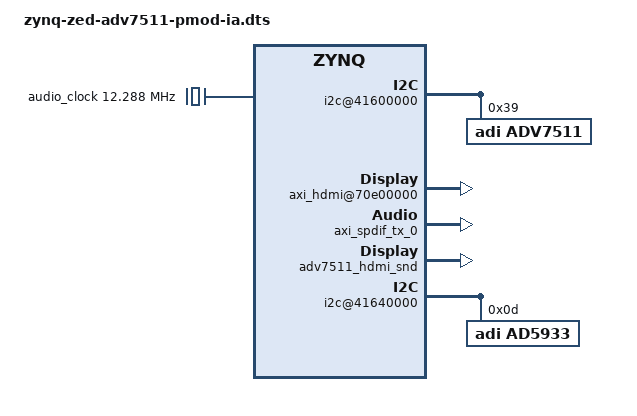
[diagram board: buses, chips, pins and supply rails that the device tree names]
/dts-v1/;

/include/ "zynq-zed.dtsi"

/ {
	fpga_axi: fpga-axi@0 {
		compatible = "simple-bus";
		#address-cells = <0x1>;
		#size-cells = <0x1>;
		ranges;

		i2c@41600000 {
			compatible = "xlnx,axi-iic-1.01.b", "xlnx,xps-iic-2.00.a";
			interrupt-parent = <&gic>;
			interrupts = <0 58 0x4>;
			reg = <0x41600000 0x10000>;

			#size-cells = <0>;
			#address-cells = <1>;

			adv7511: adv7511@39 {
				compatible = "adi,adv7511";
				reg = <0x39>;

				adi,input-style = <0x02>;
				adi,input-id = <0x01>;
				adi,input-color-depth = <0x3>;
				adi,sync-pulse = <0x03>;
				adi,bit-justification = <0x01>;
				adi,up-conversion = <0x00>;
				adi,timing-generation-sequence = <0x00>;
				adi,vsync-polarity = <0x02>;
				adi,hsync-polarity = <0x02>;
				adi,tdms-clock-inversion;
				adi,clock-delay = <0x03>;
			};
		};

		axi_vdma_0: axivdma@43000000 {
			#address-cells = <1>;
			#size-cells = <1>;
			#dma-cells = <1>;
			compatible = "xlnx,axi-vdma";
			reg = <0x43000000 0x1000>;
			xlnx,include-sg = <0x0>;
			xlnx,num-fstores = <0x3>;
			dma-channel@7e200000 {
				compatible = "xlnx,axi-vdma-mm2s-channel";
				interrupts = <0 59 0x4>;
				xlnx,datawidth = <0x40>;
				xlnx,genlock-mode = <0x0>;
				xlnx,include-dre = <0x0>;
			};
		};

		hdmi_clock: axi-clkgen@79000000 {
			compatible = "adi,axi-clkgen-1.00.a";
			reg = <0x79000000 0x10000>;
			#clock-cells = <0>;
			clocks = <&clkc 17>;
		};

		axi_hdmi@70e00000 {
			compatible = "adi,axi-hdmi-1.00.a";
			reg = <0x70e00000 0x10000>;
			encoder-slave = <&adv7511>;
			dmas = <&axi_vdma_0 0>;
			dma-names = "video";
			clocks = <&hdmi_clock>;
		};

		audio_clock: audio_clock {
			compatible = "fixed-clock";
			#clock-cells = <0>;
			clock-frequency = <12288000>;
		};

		axi_spdif_tx_0: axi-spdif-tx@0x75c00000 {
			compatible = "adi,axi-spdif-tx-1.00.a";
			reg = <0x75c00000 0x1000>;
			dmas = <&ps7_dma 0>;
			dma-names = "tx";
			clocks = <&clkc 15 &audio_clock>;
			clock-names = "axi", "spdif";
		};

		adv7511_hdmi_snd: adv7511_hdmi_snd {
			compatible = "adv7511-hdmi-snd";
			audio-codec = <&adv7511>;
			cpu-dai = <&axi_spdif_tx_0>;
		};

		i2c@41640000 {
			compatible = "xlnx,axi-iic-1.01.b", "xlnx,xps-iic-2.00.a";
			interrupt-parent = <&gic>;
			interrupts = <0 57 0x4>;
			reg = <0x41640000 0x10000>;

			#size-cells = <0>;
			#address-cells = <1>;

			ad5933@0D {
				compatible = "adi,ad5933";
				reg = <0x0D>;			
			};
		};
	};
};
